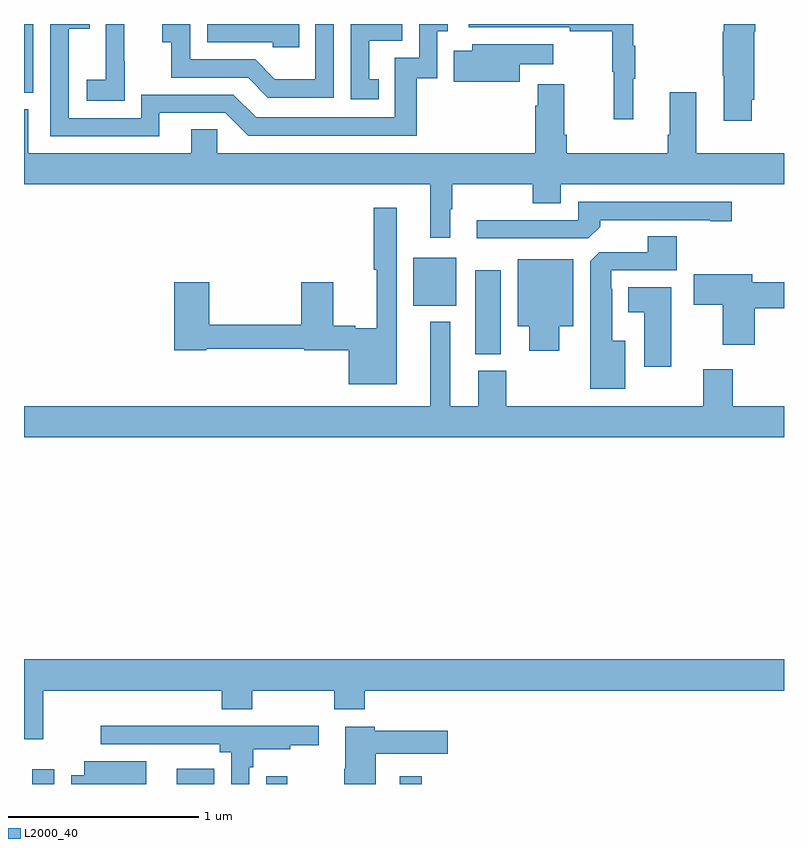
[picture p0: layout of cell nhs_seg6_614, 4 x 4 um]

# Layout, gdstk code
import gdstk
lib = gdstk.Library(unit=1e-6, precision=1e-09)
def R(c, l, rs):  # rectangles x0, y0, x1, y1
    for r in rs: c.add(gdstk.rectangle(r[:2], r[2:], *l))
def P(c, l, *ps):  # polygons
    for p in ps: c.add(gdstk.Polygon(p, *l))
L2000_40 = (2000, 40)

nhs_seg6_614 = lib.new_cell('nhs_seg6_614')
R(nhs_seg6_614, L2000_40, [(149.044,957.5,149.16,957.577), (149.804,957.5,150.001,957.58), (150.276,957.5,150.385,957.541), (150.978,957.5,151.094,957.541), (151.376,959.761,151.51,960.205), (151.049,960.017,151.276,960.271), (149,961.137,149.049,961.5)])
P(nhs_seg6_614, L2000_40, [(150.63,961.5),(150.534,961.5),(150.534,961.21),(150.32,961.21),(150.216,961.314),(149.874,961.314),(149.874,961.5),(149.727,961.5),(149.727,961.403),(149.776,961.403),(149.776,961.218),(150.179,961.218),(150.284,961.113),(150.63,961.113)],
  [(150.449,961.5),(149.964,961.5),(149.964,961.404),(150.309,961.404),(150.309,961.377),(150.449,961.377)],
  [(149.529,961.303),(149.528,961.303),(149.528,961.5),(149.43,961.5),(149.43,961.436),(149.429,961.436),(149.429,961.207),(149.331,961.207),(149.331,961.097),(149.529,961.097)],
  [(149.713,961.032),(150.06,961.032),(150.18,960.912),(151.067,960.912),(151.067,961.215),(151.176,961.215),(151.176,961.461),(151.231,961.461),(151.231,961.5),(151.08,961.5),(151.08,961.323),(150.951,961.323),(150.951,961.008),(150.222,961.008),(150.102,961.128),(149.616,961.128),(149.616,961.005),(149.235,961.005),(149.235,961.474),(149.345,961.474),(149.345,961.5),(149.139,961.5),(149.139,960.909),(149.713,960.909)],
  [(150.866,961.209),(150.817,961.209),(150.817,961.413),(150.99,961.413),(150.99,961.5),(150.72,961.5),(150.72,961.104),(150.866,961.104)],
  [(152.83,961.102),(152.843,961.102),(152.843,961.458),(152.848,961.458),(152.848,961.5),(152.684,961.5),(152.684,961.458),(152.677,961.458),(152.677,961.228),(152.684,961.228),(152.684,960.99),(152.83,960.99)],
  [(152.207,961.211),(152.218,961.211),(152.218,961.385),(152.207,961.385),(152.207,961.5),(151.341,961.5),(151.341,961.482),(151.873,961.482),(151.873,961.462),(152.097,961.462),(152.097,961.248),(152.104,961.248),(152.104,960.999),(152.207,960.999)],
  [(151.609,961.289),(151.786,961.289),(151.786,961.393),(151.358,961.393),(151.358,961.36),(151.261,961.36),(151.261,961.195),(151.609,961.195)],
  [(151.243,960.524),(151.253,960.524),(151.253,960.656),(151.678,960.656),(151.678,960.557),(151.825,960.557),(151.825,960.656),(153,960.656),(153,960.82),(152.539,960.82),(152.539,961.141),(152.399,961.141),(152.399,960.916),(152.387,960.916),(152.387,960.82),(151.856,960.82),(151.856,960.916),(151.843,960.916),(151.843,961.183),(151.703,961.183),(151.703,961.07),(151.691,961.07),(151.691,960.82),(150.018,960.82),(150.018,960.947),(149.879,960.947),(149.879,960.82),(149.023,960.82),(149.023,961.052),(149,961.052),(149,960.656),(151.139,960.656),(151.139,960.375),(151.243,960.375)],
  [(152.033,960.434),(152.033,960.468),(152.612,960.468),(152.612,960.463),(152.725,960.463),(152.725,960.564),(151.917,960.564),(151.917,960.468),(151.383,960.468),(151.383,960.372),(151.971,960.372)],
  [(150.961,960.532),(150.84,960.532),(150.84,960.207),(150.857,960.207),(150.857,959.899),(150.743,959.899),(150.743,959.912),(150.628,959.912),(150.628,960.142),(150.458,960.142),(150.458,959.918),(149.975,959.918),(149.975,960.142),(149.792,960.142),(149.792,959.782),(149.958,959.782),(149.958,959.79),(150.474,959.79),(150.474,959.782),(150.71,959.782),(150.71,959.603),(150.961,959.603)],
  [(152.164,959.833),(152.095,959.833),(152.095,960.107),(152.091,960.107),(152.091,960.204),(152.435,960.204),(152.435,960.383),(152.282,960.383),(152.282,960.3),(152.028,960.3),(151.979,960.251),(151.979,959.579),(152.164,959.579)],
  [(151.816,959.909),(151.891,959.909),(151.891,960.262),(151.598,960.262),(151.598,959.909),(151.658,959.909),(151.658,959.781),(151.816,959.781)],
  [(152.846,960.004),(153,960.004),(153,960.14),(152.833,960.14),(152.833,960.184),(152.526,960.184),(152.526,960.022),(152.678,960.022),(152.678,959.811),(152.846,959.811)],
  [(152.407,960.115),(152.18,960.115),(152.18,959.984),(152.264,959.984),(152.264,959.697),(152.407,959.697)],
  [(153,959.488),(152.729,959.488),(152.729,959.683),(152.576,959.683),(152.576,959.488),(151.539,959.488),(151.539,959.676),(151.391,959.676),(151.391,959.488),(151.243,959.488),(151.243,959.932),(151.139,959.932),(151.139,959.488),(149,959.488),(149,959.324),(153,959.324)],
  [(149.102,957.992),(150.041,957.992),(150.041,957.893),(150.201,957.893),(150.201,957.992),(150.634,957.992),(150.634,957.893),(150.794,957.893),(150.794,957.992),(153,957.992),(153,958.156),(149,958.156),(149,957.735),(149.102,957.735)],
  [(150.186,957.587),(150.206,957.587),(150.206,957.683),(150.402,957.683),(150.402,957.703),(150.55,957.703),(150.55,957.806),(149.403,957.806),(149.403,957.708),(150.03,957.708),(150.03,957.668),(150.09,957.668),(150.09,957.5),(150.186,957.5)],
  [(150.85,957.659),(151.231,957.659),(151.231,957.781),(150.846,957.781),(150.846,957.802),(150.692,957.802),(150.692,957.58),(150.685,957.58),(150.685,957.5),(150.85,957.5)],
  [(149.644,957.619),(149.318,957.619),(149.318,957.546),(149.249,957.546),(149.249,957.5),(149.644,957.5)])

lib.write_gds('nhs_seg6_614.gds')
